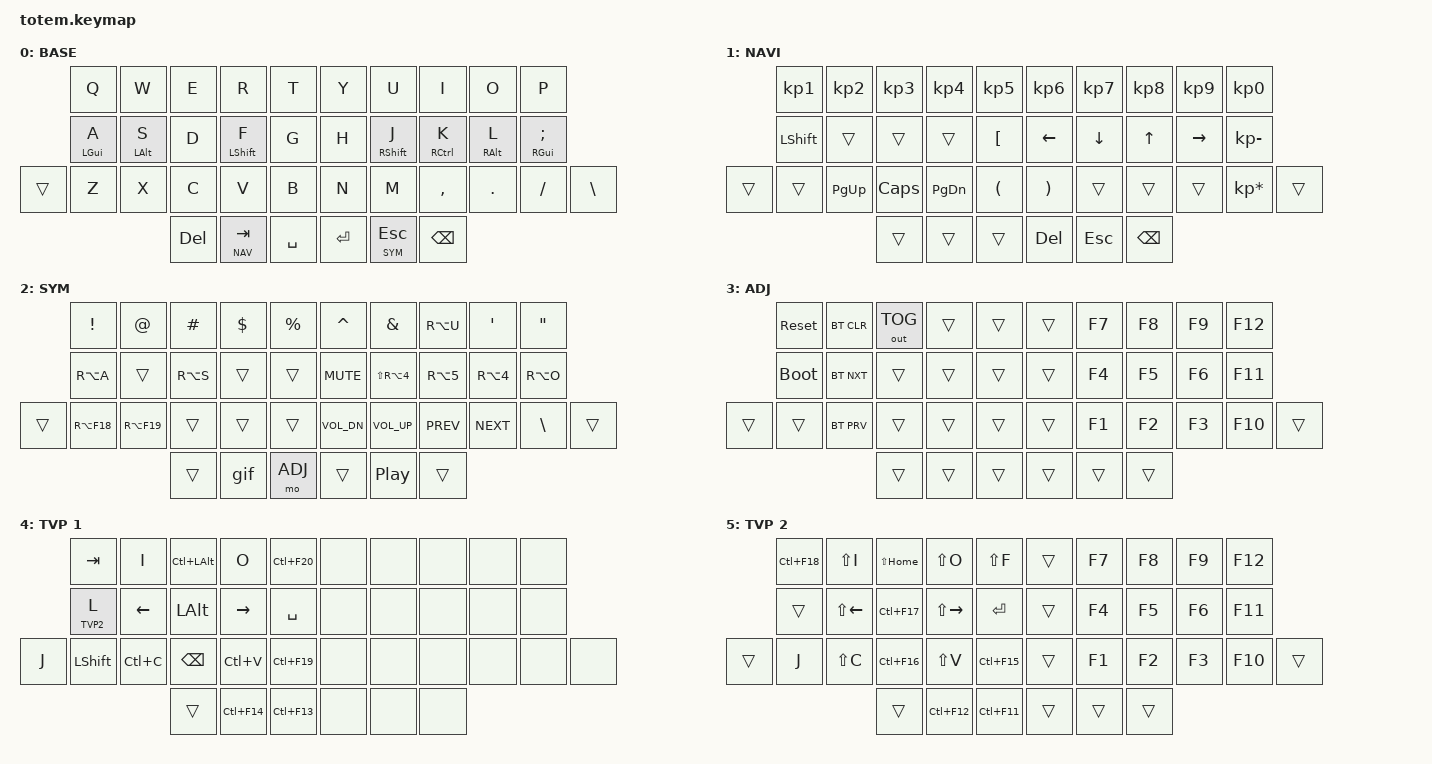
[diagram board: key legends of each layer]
//
//                                                        ▀▀▀▀▀     ▀▀▀▀▀          ▀▀█▀▀
//                                                        ▄▀▀▀▄  ▄  ▄▀▀▀▄  ▄  ▄▀▀▀▄  █  ▄▀▀▀▄
//                                                        █   █  █  █   █  █  █   █  █  █   █
//                                                         ▀▀▀   █   ▀▀▀   █   ▀▀▀   ▀   ▀▀▀
//                                                               █      ▄▄▄█▄▄▄    █   █
//                                                               ▀      █  █  █     █▄█
//                                                             ▀▀▀▀▀    █  █  █      ▀
//                                                                      ▀  ▀  ▀
//
// ▄▄▄▄▄▄▄▄▄▄▄▄▄▄▄▄▄▄▄▄▄▄▄▄▄▄▄▄▄▄▄▄▄▄▄▄▄▄▄▄▄▄▄▄▄▄▄▄▄▄▄▄▄▄▄▄▄▄▄▄▄▄▄▄▄▄▄▄▄▄▄▄▄▄▄▄▄▄▄▄▄▄▄▄▄▄▄▄▄▄▄▄▄▄▄▄▄▄▄▄▄▄▄▄▄▄▄▄▄▄▄▄▄▄▄▄▄▄▄▄▄▄▄▄▄▄▄▄▄▄▄▄▄▄▄▄▄▄▄▄▄▄▄▄▄▄▄▄▄


#include <behaviors.dtsi>
#include <dt-bindings/zmk/keys.h>
#include <dt-bindings/zmk/bt.h>
#include <dt-bindings/zmk/outputs.h>

#define BASE 0
#define NAV  1
#define SYM  2
#define ADJ  3
#define TVP1 4
#define TVP2 5

&mt {
  quick-tap-ms = <120>;
  global-quick-tap;
  flavor = "tap-preferred";
  tapping-term-ms = <200>;
};

/ {
     combos {
            compatible = "zmk,combos";
            combo_esc {
                timeout-ms = <50>;
                key-positions = <0 1>;
                bindings = <&kp ESC>;
            };
            combo_tvp {
                timeout-ms = <100>;
                key-positions = <11 12 13>;
                bindings = <&tog TVP1>;
            };
    };

    macros {
        gif: gif {
            label = "giphy";
            compatible = "zmk,behavior-macro";
            #binding-cells = <0>;
            bindings
                = <&macro_press &kp LSHFT>
                , <&macro_tap &kp N2>
                , <&macro_release &kp LSHFT>
                , <&macro_tap &kp G &kp I &kp F>
                ;
        };
    };

        keymap {
                compatible = "zmk,keymap";
// ▄▄▄▄▄▄▄▄▄▄▄▄▄▄▄▄▄▄▄▄▄▄▄▄▄▄▄▄▄▄▄▄▄▄▄▄▄▄▄▄▄▄▄▄▄▄▄▄▄▄▄▄▄▄▄▄▄▄▄▄▄▄▄▄▄▄▄▄▄▄▄▄▄▄▄▄▄▄▄▄▄▄▄▄▄▄▄▄▄▄▄▄▄▄▄▄▄▄▄▄▄▄▄▄▄▄▄▄▄▄▄▄▄▄▄▄▄▄▄▄▄▄▄▄▄▄▄▄▄▄▄▄▄▄▄▄▄▄▄▄▄▄▄▄▄▄▄▄▄

                base_layer {
// ┏━━━━━━━━━━━━━━━━━━━━━━━━━━━━━━━━━━━━━━━┓
label= "BASE"                              ;
// ┗━━━━━━━━━━━━━━━━━━━━━━━━━━━━━━━━━━━━━━━┛
 bindings = <

//             ┏━━━━━━━━━━━┳━━━━━━━━━━━┳━━━━━━━━━━━┳━━━━━━━━━━━┳━━━━━━━━━━━┓   ┏━━━━━━━━━━━┳━━━━━━━━━━━┳━━━━━━━━━━━┳━━━━━━━━━━━┳━━━━━━━━━━━┓
//             ┃     Q     ┃     W     ┃     E     ┃     R     ┃     T     ┃   ┃     Y     ┃     U     ┃     I     ┃     O     ┃     P     ┃
                    &kp Q      &kp W       &kp E       &kp R      &kp T            &kp Y      &kp U      &kp I      &kp O      &kp P
//             ┣━━━━━━━━━━━╋━━━━━━━━━━━╋━━━━━━━━━━━╋━━━━━━━━━━━╋━━━━━━━━━━━┫   ┣━━━━━━━━━━━╋━━━━━━━━━━━╋━━━━━━━━━━━╋━━━━━━━━━━━╋━━━━━━━━━━━┫
//             ┃     A     ┃     S     ┃     D     ┃     F     ┃     G     ┃   ┃     H     ┃     J     ┃     K     ┃     L     ┃     ;     ┃
                &mt LGUI A   &mt LALT S    &kp D    &mt LSHFT F   &kp G            &kp H    &mt RSHFT J &mt RCTRL K  &mt RALT L &mt RGUI SEMI
// ┏━━━━━━━━━━━╋━━━━━━━━━━━╋━━━━━━━━━━━╋━━━━━━━━━━━╋━━━━━━━━━━━╋━━━━━━━━━━━┫   ┣━━━━━━━━━━━╋━━━━━━━━━━━╋━━━━━━━━━━━╋━━━━━━━━━━━╋━━━━━━━━━━━╋━━━━━━━━━━━┓
// ┃           ┃     Z     ┃     X     ┃     C     ┃     V     ┃     B     ┃   ┃     N     ┃     M     ┃     ,     ┃     .     ┃     /     ┃     "     ┃
     &trans        &kp Z      &kp X      &kp C        &kp V        &kp B          &kp N      &kp M      &kp COMMA     &kp DOT     &kp FSLH    &kp BSLH
// ┗━━━━━━━━━━━┻━━━━━━━━━━━┻━━━━━━━━━━━╋━━━━━━━━━━━╋━━━━━━━━━━━╋━━━━━━━━━━━┫   ┣━━━━━━━━━━━╋━━━━━━━━━━━╋━━━━━━━━━━━╋━━━━━━━━━━━┻━━━━━━━━━━━┻━━━━━━━━━━━┛
//                                     ┃    DEL    ┃    TAB    ┃    SPC    ┃   ┃   ENTER   ┃    ESC    ┃   BSPC    ┃
                                          &kp DEL    &lt NAV TAB &kp SPACE      &kp RET    &lt SYM ESC &kp BSPC
//                                     ┗━━━━━━━━━━━┻━━━━━━━━━━━┻━━━━━━━━━━━┛   ┗━━━━━━━━━━━┻━━━━━━━━━━━┻━━━━━━━━━━━┛
          >;
                };


// ▄▄▄▄▄▄▄▄▄▄▄▄▄▄▄▄▄▄▄▄▄▄▄▄▄▄▄▄▄▄▄▄▄▄▄▄▄▄▄▄▄▄▄▄▄▄▄▄▄▄▄▄▄▄▄▄▄▄▄▄▄▄▄▄▄▄▄▄▄▄▄▄▄▄▄▄▄▄▄▄▄▄▄▄▄▄▄▄▄▄▄▄▄▄▄▄▄▄▄▄▄▄▄▄▄▄▄▄▄▄▄▄▄▄▄▄▄▄▄▄▄▄▄▄▄▄▄▄▄▄▄▄▄▄▄▄▄▄▄▄▄▄▄▄▄▄▄▄▄


                nav_layer {
// ┏━━━━━━━━━━━━━━━━━━━━━━━━━━━━━━━━━━━━━━━┓
label= "NAVI"                              ;
// ┗━━━━━━━━━━━━━━━━━━━━━━━━━━━━━━━━━━━━━━━┛
 bindings = <
//             ┏━━━━━━━━━━━┳━━━━━━━━━━━┳━━━━━━━━━━━┳━━━━━━━━━━━┳━━━━━━━━━━━┓   ┏━━━━━━━━━━━┳━━━━━━━━━━━┳━━━━━━━━━━━┳━━━━━━━━━━━┳━━━━━━━━━━━━━━┓
//             ┃     1     ┃     2     ┃     3     ┃     4     ┃     5     ┃   ┃     6     ┃     7     ┃     8     ┃     9     ┃     0        ┃
                 &kp KP_N1   &kp KP_N2   &kp KP_N3   &kp KP_N4   &kp KP_N5       &kp KP_N6   &kp KP_N7   &kp KP_N8   &kp KP_N9   &kp KP_N0
//             ┣━━━━━━━━━━━╋━━━━━━━━━━━╋━━━━━━━━━━━╋━━━━━━━━━━━╋━━━━━━━━━━━┫   ┣━━━━━━━━━━━╋━━━━━━━━━━━╋━━━━━━━━━━━╋━━━━━━━━━━━╋━━━━━━━━━━━━━━┫
//             ┃   SHIFT   ┃           ┃           ┃           ┃     [     ┃   ┃     ←     ┃     ↓     ┃     ↑     ┃     →     ┃     -        ┃
                  &kp LSHFT    &trans      &trans      &trans      &kp LBKT        &kp LEFT   &kp DOWN     &kp UP     &kp RIGHT  &kp KP_MINUS
// ┏━━━━━━━━━━━╋━━━━━━━━━━━╋━━━━━━━━━━━╋━━━━━━━━━━━╋━━━━━━━━━━━╋━━━━━━━━━━━┫   ┣━━━━━━━━━━━╋━━━━━━━━━━━╋━━━━━━━━━━━╋━━━━━━━━━━━╋━━━━━━━━━━━━━━╋━━━━━━━━━━━┓
// ┃           ┃           ┃   P UP    ┃  C LOCK   ┃  P DOWN   ┃     (     ┃   ┃     )     ┃           ┃           ┃           ┃     *        ┃           ┃
    &trans        &trans      &kp PG_UP  &kp CAPS   &kp PG_DN  &kp LPAR        &kp RPAR    &trans       &trans       &trans     &kp KP_MULTIPLY  &trans
// ┗━━━━━━━━━━━┻━━━━━━━━━━━┻━━━━━━━━━━━╋━━━━━━━━━━━╋━━━━━━━━━━━╋━━━━━━━━━━━┫   ┣━━━━━━━━━━━╋━━━━━━━━━━━╋━━━━━━━━━━━╋━━━━━━━━━━━┻━━━━━━━━━━━━━━┻━━━━━━━━━━━┛
//                                     ┃           ┃    TAB    ┃    SPC    ┃   ┃    DEL    ┃    ESC    ┃   BSPC    ┃
                                         &trans      &trans      &trans          &kp DEL    &kp ESC     &kp BSPC
//                                     ┗━━━━━━━━━━━┻━━━━━━━━━━━┻━━━━━━━━━━━┛   ┗━━━━━━━━━━━┻━━━━━━━━━━━┻━━━━━━━━━━━┛
          >;
                };

// ▄▄▄▄▄▄▄▄▄▄▄▄▄▄▄▄▄▄▄▄▄▄▄▄▄▄▄▄▄▄▄▄▄▄▄▄▄▄▄▄▄▄▄▄▄▄▄▄▄▄▄▄▄▄▄▄▄▄▄▄▄▄▄▄▄▄▄▄▄▄▄▄▄▄▄▄▄▄▄▄▄▄▄▄▄▄▄▄▄▄▄▄▄▄▄▄▄▄▄▄▄▄▄▄▄▄▄▄▄▄▄▄▄▄▄▄▄▄▄▄▄▄▄▄▄▄▄▄▄▄▄▄▄▄▄▄▄▄▄▄▄▄▄▄▄▄▄▄▄


                sim_layer {
// ┏━━━━━━━━━━━━━━━━━━━━━━━━━━━━━━━━━━━━━━━┓
label= "SYM"                               ;
// ┗━━━━━━━━━━━━━━━━━━━━━━━━━━━━━━━━━━━━━━━┛
 bindings = <
//             ┏━━━━━━━━━━━┳━━━━━━━━━━━┳━━━━━━━━━━━┳━━━━━━━━━━━┳━━━━━━━━━━━┓   ┏━━━━━━━━━━━┳━━━━━━━━━━━┳━━━━━━━━━━━┳━━━━━━━━━━━┳━━━━━━━━━━━┓
//             ┃     !     ┃     @     ┃     #     ┃     $     ┃     %     ┃   ┃     ˆ     ┃     &     ┃     Ü     ┃     '     ┃     "     ┃
               &kp EXCL    &kp AT      &kp HASH   &kp DLLR   &kp PRCNT       &kp CARET  &kp AMPS    &kp RA(U)   &kp SQT     &kp DQT
//             ┣━━━━━━━━━━━╋━━━━━━━━━━━╋━━━━━━━━━━━╋━━━━━━━━━━━╋━━━━━━━━━━━┫   ┣━━━━━━━━━━━╋━━━━━━━━━━━╋━━━━━━━━━━━╋━━━━━━━━━━━╋━━━━━━━━━━━┫
//             ┃     Ä     ┃           ┃    SZ     ┃           ┃           ┃   ┃   MUTE    ┃   YEN     ┃   EURO    ┃  POUND    ┃     Ö     ┃
               &kp RA(A)   &trans      &kp RA(S)  &trans      &trans          &kp C_MUTE &kp LS(RA(N4)) &kp RA(N5) &kp RA(N4) &kp RA(O)
// ┏━━━━━━━━━━━╋━━━━━━━━━━━╋━━━━━━━━━━━╋━━━━━━━━━━━╋━━━━━━━━━━━╋━━━━━━━━━━━┫   ┣━━━━━━━━━━━╋━━━━━━━━━━━╋━━━━━━━━━━━╋━━━━━━━━━━━╋━━━━━━━━━━━╋━━━━━━━━━━━┓
// ┃           ┃  EMAIL1   ┃  EMAIL2   ┃           ┃           ┃           ┃   ┃   VOL-    ┃   VOL+    ┃   LAST    ┃   NEXT    ┃     \     ┃           ┃
    &trans      &kp RA(F18) &kp RA(F19) &trans       &trans       &trans          &kp C_VOL_DN &kp C_VOL_UP &kp C_PREV  &kp C_NEXT  &kp BSLH    &trans
// ┗━━━━━━━━━━━┻━━━━━━━━━━━┻━━━━━━━━━━━╋━━━━━━━━━━━╋━━━━━━━━━━━╋━━━━━━━━━━━┫   ┣━━━━━━━━━━━╋━━━━━━━━━━━╋━━━━━━━━━━━╋━━━━━━━━━━━┻━━━━━━━━━━━┻━━━━━━━━━━━┛
//                                     ┃           ┃    GIF    ┃    ADJ    ┃   ┃           ┃   PLAY    ┃           ┃
                                         &trans      &gif        &mo ADJ         &trans      &kp C_PP    &trans
//                                     ┗━━━━━━━━━━━┻━━━━━━━━━━━┻━━━━━━━━━━━┛   ┗━━━━━━━━━━━┻━━━━━━━━━━━┻━━━━━━━━━━━┛
          >;
                };

// ▄▄▄▄▄▄▄▄▄▄▄▄▄▄▄▄▄▄▄▄▄▄▄▄▄▄▄▄▄▄▄▄▄▄▄▄▄▄▄▄▄▄▄▄▄▄▄▄▄▄▄▄▄▄▄▄▄▄▄▄▄▄▄▄▄▄▄▄▄▄▄▄▄▄▄▄▄▄▄▄▄▄▄▄▄▄▄▄▄▄▄▄▄▄▄▄▄▄▄▄▄▄▄▄▄▄▄▄▄▄▄▄▄▄▄▄▄▄▄▄▄▄▄▄▄▄▄▄▄▄▄▄▄▄▄▄▄▄▄▄▄▄▄▄▄▄▄▄▄


                adjust_layer {
// ┏━━━━━━━━━━━━━━━━━━━━━━━━━━━━━━━━━━━━━━━┓
label= "ADJ"                               ;
// ┗━━━━━━━━━━━━━━━━━━━━━━━━━━━━━━━━━━━━━━━┛
 bindings = <
//             ┏━━━━━━━━━━━┳━━━━━━━━━━━┳━━━━━━━━━━━┳━━━━━━━━━━━┳━━━━━━━━━━━┓   ┏━━━━━━━━━━━┳━━━━━━━━━━━┳━━━━━━━━━━━┳━━━━━━━━━━━┳━━━━━━━━━━━┓
//             ┃   RESET   ┃ BT CLEAR  ┃  OUT TOG  ┃           ┃           ┃   ┃           ┃    F7     ┃    F8     ┃    F9     ┃    F12    ┃
               &sys_reset  &bt BT_CLR  &out OUT_TOG  &trans      &trans          &trans      &kp F7      &kp F8      &kp F9      &kp F12
//             ┣━━━━━━━━━━━╋━━━━━━━━━━━╋━━━━━━━━━━━╋━━━━━━━━━━━╋━━━━━━━━━━━┫   ┣━━━━━━━━━━━╋━━━━━━━━━━━╋━━━━━━━━━━━╋━━━━━━━━━━━╋━━━━━━━━━━━┫
//             ┃ BOOTLOAD  ┃ BT NEXT   ┃           ┃           ┃           ┃   ┃           ┃    F4     ┃    F5     ┃    F6     ┃    F11    ┃
               &bootloader &bt BT_NXT  &trans      &trans      &trans          &trans      &kp F4      &kp F5      &kp F6      &kp F11
// ┏━━━━━━━━━━━╋━━━━━━━━━━━╋━━━━━━━━━━━╋━━━━━━━━━━━╋━━━━━━━━━━━╋━━━━━━━━━━━┫   ┣━━━━━━━━━━━╋━━━━━━━━━━━╋━━━━━━━━━━━╋━━━━━━━━━━━╋━━━━━━━━━━━╋━━━━━━━━━━━┓
// ┃           ┃           ┃ BT PREV   ┃           ┃           ┃           ┃   ┃           ┃    F1     ┃    F2     ┃    F3     ┃    F10    ┃           ┃
    &trans        &trans      &bt BT_PRV  &trans       &trans       &trans          &trans      &kp F1      &kp F2      &kp F3      &kp F10     &trans
// ┗━━━━━━━━━━━┻━━━━━━━━━━━┻━━━━━━━━━━━╋━━━━━━━━━━━╋━━━━━━━━━━━╋━━━━━━━━━━━┫   ┣━━━━━━━━━━━╋━━━━━━━━━━━╋━━━━━━━━━━━╋━━━━━━━━━━━┻━━━━━━━━━━━┻━━━━━━━━━━━┛
//                                     ┃           ┃           ┃           ┃   ┃           ┃           ┃           ┃
                                         &trans      &trans      &trans          &trans      &trans      &trans
//                                     ┗━━━━━━━━━━━┻━━━━━━━━━━━┻━━━━━━━━━━━┛   ┗━━━━━━━━━━━┻━━━━━━━━━━━┻━━━━━━━━━━━┛
          >;
                };

// ▄▄▄▄▄▄▄▄▄▄▄▄▄▄▄▄▄▄▄▄▄▄▄▄▄▄▄▄▄▄▄▄▄▄▄▄▄▄▄▄▄▄▄▄▄▄▄▄▄▄▄▄▄▄▄▄▄▄▄▄▄▄▄▄▄▄▄▄▄▄▄▄▄▄▄▄▄▄▄▄▄▄▄▄▄▄▄▄▄▄▄▄▄▄▄▄▄▄▄▄▄▄▄▄▄▄▄▄▄▄▄▄▄▄▄▄▄▄▄▄▄▄▄▄▄▄▄▄▄▄▄▄▄▄▄▄▄▄▄▄▄▄▄▄▄▄▄▄▄


                tvp1_layer {
// ┏━━━━━━━━━━━━━━━━━━━━━━━━━━━━━━━━━━━━━━━┓
label= "TVP 1"                             ;
// ┗━━━━━━━━━━━━━━━━━━━━━━━━━━━━━━━━━━━━━━━┛
 bindings = <
//             ┏━━━━━━━━━━━┳━━━━━━━━━━━┳━━━━━━━━━━━┳━━━━━━━━━━━┳━━━━━━━━━━━┓   ┏━━━━━━━━━━━┳━━━━━━━━━━━┳━━━━━━━━━━━┳━━━━━━━━━━━┳━━━━━━━━━━━┓
//             ┃ NEXT FILE ┃ MARK IN   ┃ ROTATE    ┃ MARK OUT  ┃ SHOW SNAP ┃   ┃           ┃           ┃           ┃           ┃           ┃
               &kp TAB     &kp I       &kp LC(LALT) &kp O       &kp LC(F20)     &none       &none       &none       &none       &none
//             ┣━━━━━━━━━━━╋━━━━━━━━━━━╋━━━━━━━━━━━╋━━━━━━━━━━━╋━━━━━━━━━━━┫   ┣━━━━━━━━━━━╋━━━━━━━━━━━╋━━━━━━━━━━━╋━━━━━━━━━━━╋━━━━━━━━━━━┫
//             ┃ TVP II    ┃ LEFT      ┃ PAN       ┃ RIGHT     ┃ PLAY/FLIP ┃   ┃           ┃           ┃           ┃           ┃           ┃
               &lt TVP2 L  &kp LEFT    &kp LALT    &kp RIGHT   &kp SPACE       &none       &none       &none       &none       &none
// ┏━━━━━━━━━━━╋━━━━━━━━━━━╋━━━━━━━━━━━╋━━━━━━━━━━━╋━━━━━━━━━━━╋━━━━━━━━━━━┫   ┣━━━━━━━━━━━╋━━━━━━━━━━━╋━━━━━━━━━━━╋━━━━━━━━━━━╋━━━━━━━━━━━╋━━━━━━━━━━━┓
// ┃ FULLSCR   ┃ SHIFT     ┃ COPY      ┃ DELETE    ┃ PASTE     ┃ IMG MARK  ┃   ┃           ┃           ┃           ┃           ┃           ┃           ┃
    &kp J       &kp LSHFT   &kp LC(C)  &kp BSPC   &kp LC(V)  &kp LC(F19)     &none       &none       &none       &none       &none       &none
// ┗━━━━━━━━━━━┻━━━━━━━━━━━┻━━━━━━━━━━━╋━━━━━━━━━━━╋━━━━━━━━━━━╋━━━━━━━━━━━┫   ┣━━━━━━━━━━━╋━━━━━━━━━━━╋━━━━━━━━━━━╋━━━━━━━━━━━┻━━━━━━━━━━━┻━━━━━━━━━━━┛
//                                     ┃           ┃ UNDO/SAVE ┃  SEL/MOV  ┃   ┃           ┃           ┃           ┃
                                         &trans      &kp LC(F14) &kp LC(F13)     &none       &none       &none
//                                     ┗━━━━━━━━━━━┻━━━━━━━━━━━┻━━━━━━━━━━━┛   ┗━━━━━━━━━━━┻━━━━━━━━━━━┻━━━━━━━━━━━┛
          >;
                };

// ▄▄▄▄▄▄▄▄▄▄▄▄▄▄▄▄▄▄▄▄▄▄▄▄▄▄▄▄▄▄▄▄▄▄▄▄▄▄▄▄▄▄▄▄▄▄▄▄▄▄▄▄▄▄▄▄▄▄▄▄▄▄▄▄▄▄▄▄▄▄▄▄▄▄▄▄▄▄▄▄▄▄▄▄▄▄▄▄▄▄▄▄▄▄▄▄▄▄▄▄▄▄▄▄▄▄▄▄▄▄▄▄▄▄▄▄▄▄▄▄▄▄▄▄▄▄▄▄▄▄▄▄▄▄▄▄▄▄▄▄▄▄▄▄▄▄▄▄▄


                tvp2_layer {
// ┏━━━━━━━━━━━━━━━━━━━━━━━━━━━━━━━━━━━━━━━┓
label= "TVP 2"                             ;
// ┗━━━━━━━━━━━━━━━━━━━━━━━━━━━━━━━━━━━━━━━┛
 bindings = <
//             ┏━━━━━━━━━━━┳━━━━━━━━━━━┳━━━━━━━━━━━┳━━━━━━━━━━━┳━━━━━━━━━━━┓   ┏━━━━━━━━━━━┳━━━━━━━━━━━┳━━━━━━━━━━━┳━━━━━━━━━━━┳━━━━━━━━━━━┓
//             ┃ SOLO      ┃ TOGGLE IN ┃ RESET ROT ┃ TOGGLE OUT┃ TAKE SNAP ┃   ┃           ┃           ┃           ┃           ┃           ┃
               &kp LC(F18) &kp LS(I)   &kp LS(HOME) &kp LS(O)   &kp LS(F)       &trans      &kp F7      &kp F8      &kp F9      &kp F12
//             ┣━━━━━━━━━━━╋━━━━━━━━━━━╋━━━━━━━━━━━╋━━━━━━━━━━━╋━━━━━━━━━━━┫   ┣━━━━━━━━━━━╋━━━━━━━━━━━╋━━━━━━━━━━━╋━━━━━━━━━━━╋━━━━━━━━━━━┫
//             ┃ ---       ┃ LAST KEY  ┃ NEW KEY   ┃ NEXT KEY  ┃ ENTER     ┃   ┃           ┃           ┃           ┃           ┃           ┃
               &trans      &kp LS(LEFT) &kp LC(F17) &kp LS(RIGHT) &kp RET       &trans      &kp F4      &kp F5      &kp F6      &kp F11
// ┏━━━━━━━━━━━╋━━━━━━━━━━━╋━━━━━━━━━━━╋━━━━━━━━━━━╋━━━━━━━━━━━╋━━━━━━━━━━━┫   ┣━━━━━━━━━━━╋━━━━━━━━━━━╋━━━━━━━━━━━╋━━━━━━━━━━━╋━━━━━━━━━━━╋━━━━━━━━━━━┓
// ┃           ┃ FULLSCR   ┃ CPY2BRUSH ┃ DEL HEAD  ┃ PSTinPLACE┃ BOOK MARK ┃   ┃           ┃           ┃           ┃           ┃           ┃           ┃
    &trans        &kp J       &kp LS(C)  &kp LC(F16) &kp LS(V)  &kp LC(F15)     &trans      &kp F1      &kp F2      &kp F3      &kp F10     &trans
// ┗━━━━━━━━━━━┻━━━━━━━━━━━┻━━━━━━━━━━━╋━━━━━━━━━━━╋━━━━━━━━━━━╋━━━━━━━━━━━┫   ┣━━━━━━━━━━━╋━━━━━━━━━━━╋━━━━━━━━━━━╋━━━━━━━━━━━┻━━━━━━━━━━━┻━━━━━━━━━━━┛
//                                     ┃           ┃ REDO/SAV1 ┃TRANS/WARP ┃   ┃           ┃           ┃           ┃
                                         &trans      &kp LC(F12) &kp LC(F11)     &trans      &trans      &trans
//                                     ┗━━━━━━━━━━━┻━━━━━━━━━━━┻━━━━━━━━━━━┛   ┗━━━━━━━━━━━┻━━━━━━━━━━━┻━━━━━━━━━━━┛
          >;
                };
        };
};
